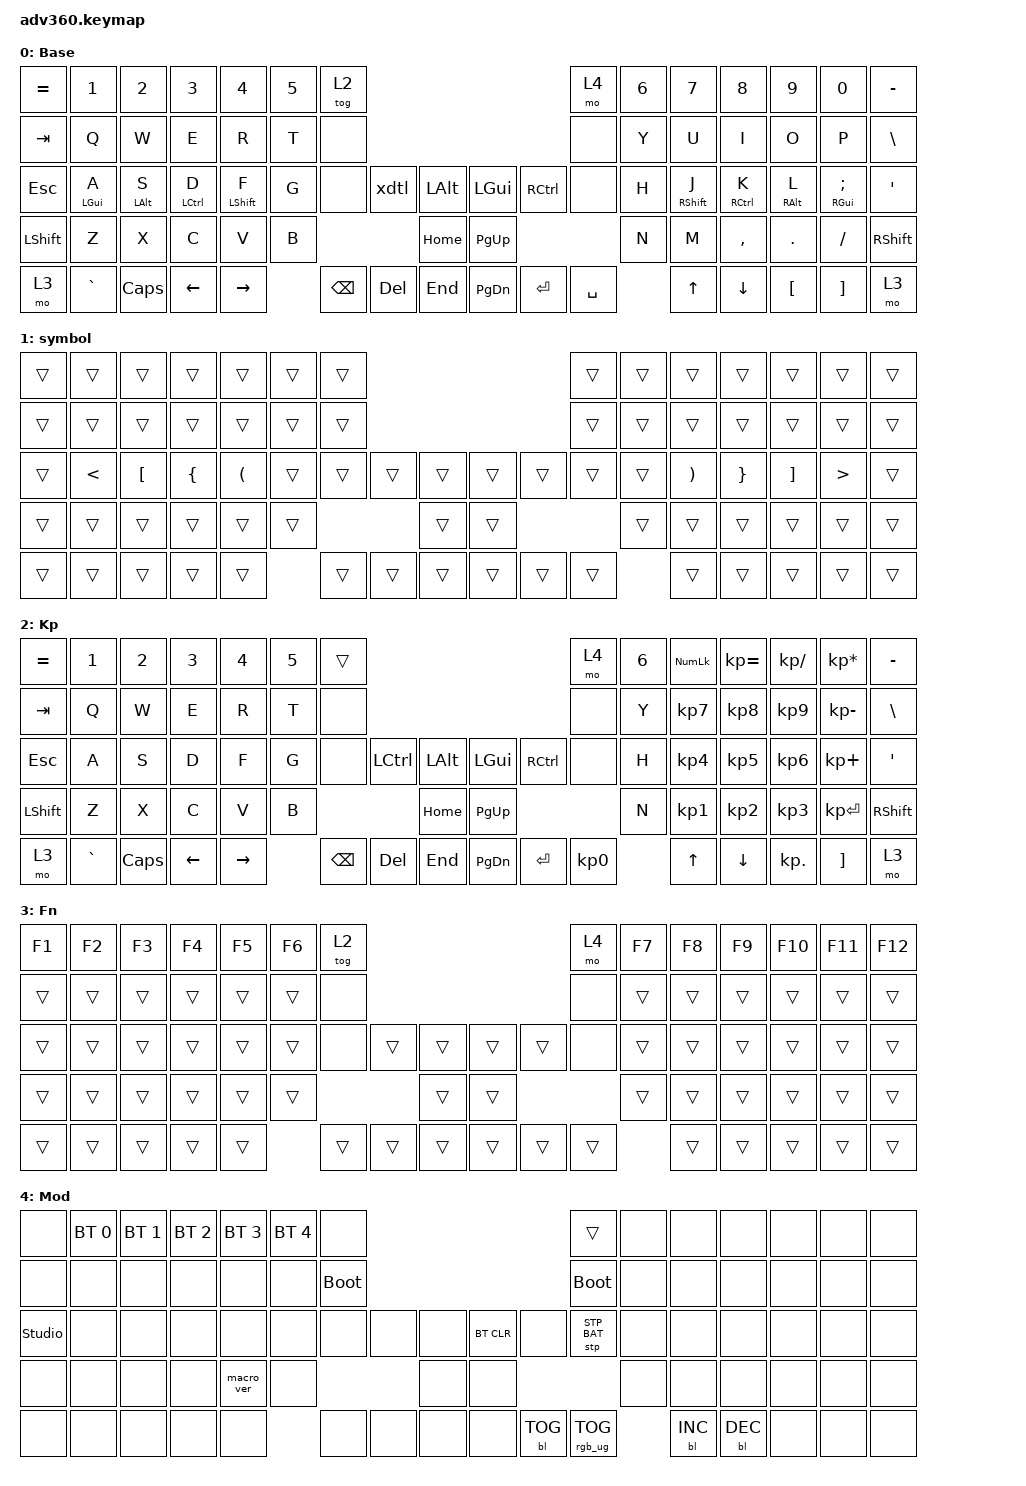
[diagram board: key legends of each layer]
#include <dt-bindings/zmk/stp.h>
#include <behaviors.dtsi>
#include <dt-bindings/zmk/backlight.h>
#include <dt-bindings/zmk/bt.h>
#include <dt-bindings/zmk/keys.h>
#include <dt-bindings/zmk/rgb.h>

/ {
    behaviors {
        #include "macros.dtsi"
      #include "version.dtsi"

        hm: homerow_mods {
            compatible = "zmk,behavior-hold-tap";
            label = "HOMEROW_MODS";
            #binding-cells = <2>;
            tapping-term-ms = <200>;
            quick_tap_ms = <175>;
            flavor = "tap-preferred";
            bindings = <&kp>, <&kp>;
        };

        xdtl: xdtl {
            compatible = "zmk,behavior-tap-dance";
            label = "XDTL";
            #binding-cells = <0>;
            bindings = <&kp LCTRL>, <&tog 1>;
        };
    };

    macros {
        sym_toggle: sym_toggle {
            compatible = "zmk,behavior-macro";
            #binding-cells = <0>;
            bindings = <&none>, <&macro_press>;

            label = "SYM_TOGGLE";
        };
    };

    keymap {
        compatible = "zmk,keymap";

        default_layer {
            display-name = "Base";
            bindings = <
&kp EQUAL  &kp N1          &kp N2          &kp N3       &kp N4            &kp N5  &tog 2                                                 &mo 4      &kp N6  &kp N7             &kp N8       &kp N9           &kp N0              &kp MINUS
&kp TAB    &kp Q           &kp W           &kp E        &kp R             &kp T   &none                                                  &none      &kp Y   &kp U              &kp I        &kp O            &kp P               &kp BSLH
&kp ESC    &hm LEFT_GUI A  &hm LEFT_ALT S  &hm LCTRL D  &hm LEFT_SHIFT F  &kp G   &none     &xdtl    &kp LALT      &kp LGUI   &kp RCTRL  &none      &kp H   &hm RIGHT_SHIFT J  &hm RCTRL K  &hm RIGHT_ALT L  &hm RIGHT_GUI SEMI  &kp SQT
&kp LSHFT  &kp Z           &kp X           &kp C        &kp V             &kp B                      &kp HOME      &kp PG_UP                        &kp N   &kp M              &kp COMMA    &kp DOT          &kp FSLH            &kp RSHFT
&mo 3      &kp GRAVE       &kp CAPS        &kp LEFT     &kp RIGHT                 &kp BSPC  &kp DEL  &kp END       &kp PG_DN  &kp ENTER  &kp SPACE          &kp UP             &kp DOWN     &kp LBKT         &kp RBKT            &mo 3
            >;
        };

        symbol {
            bindings = <
&trans  &trans         &trans            &trans          &trans                &trans  &trans                                      &trans  &trans  &trans                 &trans           &trans             &trans            &trans
&trans  &trans         &trans            &trans          &trans                &trans  &trans                                      &trans  &trans  &trans                 &trans           &trans             &trans            &trans
&trans  &kp LESS_THAN  &kp LEFT_BRACKET  &kp LEFT_BRACE  &kp LEFT_PARENTHESIS  &trans  &trans  &trans  &trans      &trans  &trans  &trans  &trans  &kp RIGHT_PARENTHESIS  &kp RIGHT_BRACE  &kp RIGHT_BRACKET  &kp GREATER_THAN  &trans
&trans  &trans         &trans            &trans          &trans                &trans                  &trans      &trans                  &trans  &trans                 &trans           &trans             &trans            &trans
&trans  &trans         &trans            &trans          &trans                        &trans  &trans  &trans      &trans  &trans  &trans          &trans                 &trans           &trans             &trans            &trans
            >;
        };

        keypad {
            display-name = "Kp";
            bindings = <
&kp EQUAL  &kp N1     &kp N2    &kp N3    &kp N4     &kp N5  &trans                                                   &mo 4      &kp N6  &kp KP_NUM  &kp KP_EQUAL  &kp KP_DIVIDE  &kp KP_MULTIPLY  &kp MINUS
&kp TAB    &kp Q      &kp W     &kp E     &kp R      &kp T   &none                                                    &none      &kp Y   &kp KP_N7   &kp KP_N8     &kp KP_N9      &kp KP_MINUS     &kp BSLH
&kp ESC    &kp A      &kp S     &kp D     &kp F      &kp G   &none     &kp LCTRL  &kp LALT      &kp LGUI   &kp RCTRL  &none      &kp H   &kp KP_N4   &kp KP_N5     &kp KP_N6      &kp KP_PLUS      &kp SQT
&kp LSHFT  &kp Z      &kp X     &kp C     &kp V      &kp B                        &kp HOME      &kp PG_UP                        &kp N   &kp KP_N1   &kp KP_N2     &kp KP_N3      &kp KP_ENTER     &kp RSHFT
&mo 3      &kp GRAVE  &kp CAPS  &kp LEFT  &kp RIGHT          &kp BSPC  &kp DEL    &kp END       &kp PG_DN  &kp ENTER  &kp KP_N0          &kp UP      &kp DOWN      &kp KP_DOT     &kp RBKT         &mo 3
            >;
        };

        fn {
            display-name = "Fn";
            bindings = <
&kp F1  &kp F2  &kp F3  &kp F4  &kp F5  &kp F6  &tog 2                                      &mo 4   &kp F7  &kp F8  &kp F9  &kp F10  &kp F11  &kp F12
&trans  &trans  &trans  &trans  &trans  &trans  &none                                       &none   &trans  &trans  &trans  &trans   &trans   &trans
&trans  &trans  &trans  &trans  &trans  &trans  &none   &trans  &trans      &trans  &trans  &none   &trans  &trans  &trans  &trans   &trans   &trans
&trans  &trans  &trans  &trans  &trans  &trans                  &trans      &trans                  &trans  &trans  &trans  &trans   &trans   &trans
&trans  &trans  &trans  &trans  &trans          &trans  &trans  &trans      &trans  &trans  &trans          &trans  &trans  &trans   &trans   &trans
            >;
        };

        mod {
            display-name = "Mod";
            bindings = <
&none           &bt BT_SEL 0  &bt BT_SEL 1  &bt BT_SEL 2  &bt BT_SEL 3  &bt BT_SEL 4  &none                                                  &trans           &none  &none       &none       &none  &none  &none
&none           &none         &none         &none         &none         &none         &bootloader                                            &bootloader      &none  &none       &none       &none  &none  &none
&studio_unlock  &none         &none         &none         &none         &none         &none        &none  &none      &bt BT_CLR  &none       &stp STP_BAT     &none  &none       &none       &none  &none  &none
&none           &none         &none         &none         &macro_ver    &none                             &none      &none                                    &none  &none       &none       &none  &none  &none
&none           &none         &none         &none         &none                       &none        &none  &none      &none       &bl BL_TOG  &rgb_ug RGB_TOG         &bl BL_INC  &bl BL_DEC  &none  &none  &none
            >;
        };
    };
};
